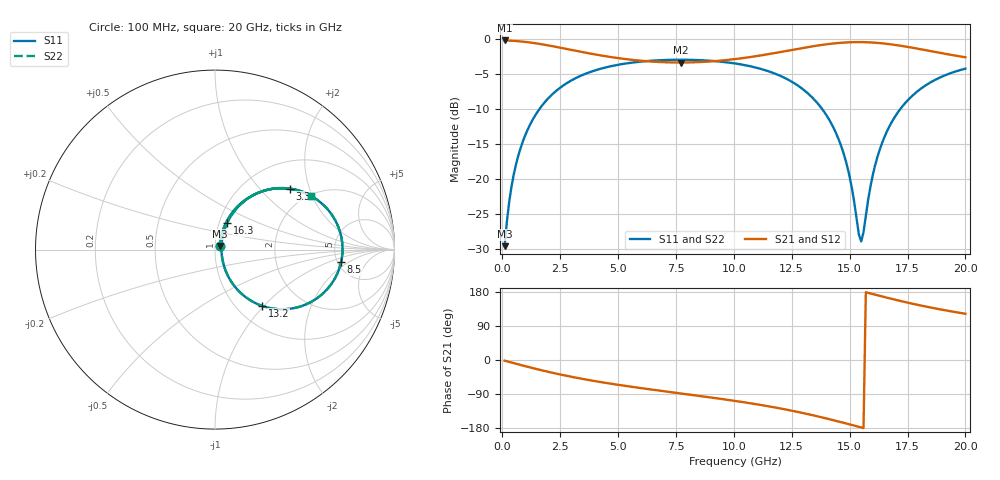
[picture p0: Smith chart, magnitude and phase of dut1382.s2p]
! Touchstone file exported from HFSS 2026.1.0
!  File:  C:/ffzhzh/LocalFiles/Ansys_Project_Files/temp_train_TSV_RDL_1382_1783348632_50076.aedt
!  Generated:  10:50:41 PM Jul  6, 2026
!  Design:  TSV_RDL
!  Project:  temp_train_TSV_RDL_1382_1783348632_50076
! Variables:
!  h_bsmrdl = 4.16um
!  h_ox = 20um
!  h_rdl = 5um
!  h_sub = 54.26um
!  h_tmrdl = 5.64um
!  h_tsv = 54.26um
!  h_via = 3um
!  l_bsmrdl = 120.98um
!  l_sub = 4150.79um
!  l_tmrdl = 820.15um
!  m_sub = 200um
!  pitch = 58.36um
!  r_tsv = 2.52um
!  s_tmrdl = 10um
!  w_bsmrdl = 24.05um
!  w_sub = 500um
!  w_tmrdl = 11.7um
!  x_tsv_center1 = 826um
!  x_tsv_center2 = 971.03um
!  x_tsv_center3 = 1802.88um
!  x_tsv_center4 = 1947.91um
!  x_tsv_center5 = 2779.76um
!  x_tsv_center6 = 2924.79um
# GHz S MA R 50.000000
! Terminal data exported
! Port[1] = TM_RDL1_1_T1
! Port[2] = TM_RDL5_1_T1
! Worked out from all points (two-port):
!   200 points, 100 MHz to 20 GHz, reference 50 ohm
!   highest |S21| = -0.23 dB at 100 MHz (marker M1); lowest = -3.4 dB at 7.7 GHz (marker M2)
!   |S21| within 3 dB of the highest: start of sweep to 6.415 GHz; 8.944 GHz to end of sweep
!   lowest |S11| = -29.5 dB at 100 MHz (marker M3), VSWR 1.07, Z = 52.6 + j2.2 ohm
!   |S11| at or under -10 dB: start of sweep to 1.604 GHz; 13.82 GHz to 17.19 GHz (3.373 GHz wide, 21.8 % of centre)
!   |S22| runs from -29.5 to -3.0 dB; largest |S21 - S12| = 1.5e-14
!   S11 on the Smith chart (normalised r, x): 100 MHz: 1.05, +0.04; 3.3 GHz: 1.57, +1.49; 8.5 GHz: 5.37, -1.50; 13.2 GHz: 1.30, -0.98; 16.3 GHz: 1.09, +0.33; 20 GHz: 2.03, +1.96
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0.1  0.03337 38.8  0.9744 -1.7  0.9744 -1.7  0.03337 38.8
! Gamma 0 0 0 0
! Port Impedance 50 0 50 0
0.3  0.06937 62.9  0.9719 -5.1  0.9719 -5.1  0.06937 62.9
0.5  0.1092 67.6  0.9678 -8.4  0.9678 -8.4  0.1092 67.6
1.1  0.2265 65.0  0.947 -18.0  0.947 -18.0  0.2265 65.0
2  0.3794 54.3  0.8976 -31.5  0.8976 -31.5  0.3794 54.3
3.3  0.5378 39.0  0.8149 -48.0  0.8149 -48.0  0.5378 39.0
3.5  0.5562 36.8  0.803 -50.3  0.803 -50.3  0.5562 36.8
6.8  0.7046 7.4  0.684 -80.9  0.684 -80.9  0.7046 7.4
7.7  0.7105 0.5  0.6787 -88.2  0.6787 -88.2  0.7105 0.5
8.5  0.7059 -5.7  0.6834 -94.7  0.6834 -94.7  0.7059 -5.7
10.1  0.6662 -18.7  0.7193 -108.4  0.7193 -108.4  0.6662 -18.7
11.9  0.5549 -35.7  0.8 -126.6  0.8 -126.6  0.5549 -35.7
13.2  0.4088 -50.1  0.8741 -142.8  0.8741 -142.8  0.4088 -50.1
13.4  0.3804 -52.4  0.8851 -145.6  0.8851 -145.6  0.3804 -52.4
14.7  0.1603 -63.8  0.9398 -165.1  0.9398 -165.1  0.1603 -63.8
15  0.1043 -61.2  0.9457 -169.9  0.9457 -169.9  0.1043 -61.2
15.5  0.03607 3.4  0.9483 -178.0  0.9483 -178.0  0.03607 3.3
15.9  0.08882 60.6  0.9436 175.6  0.9436 175.6  0.08882 60.5
16.3  0.1625 65.5  0.9333 169.3  0.9333 169.3  0.1625 65.5
16.7  0.2347 63.5  0.918 163.1  0.918 163.1  0.2347 63.5
18  0.4321 49.8  0.8479 144.7  0.8479 144.7  0.4322 49.7
20  0.6137 29.3  0.7393 122.1  0.7393 122.1  0.6137 29.3
